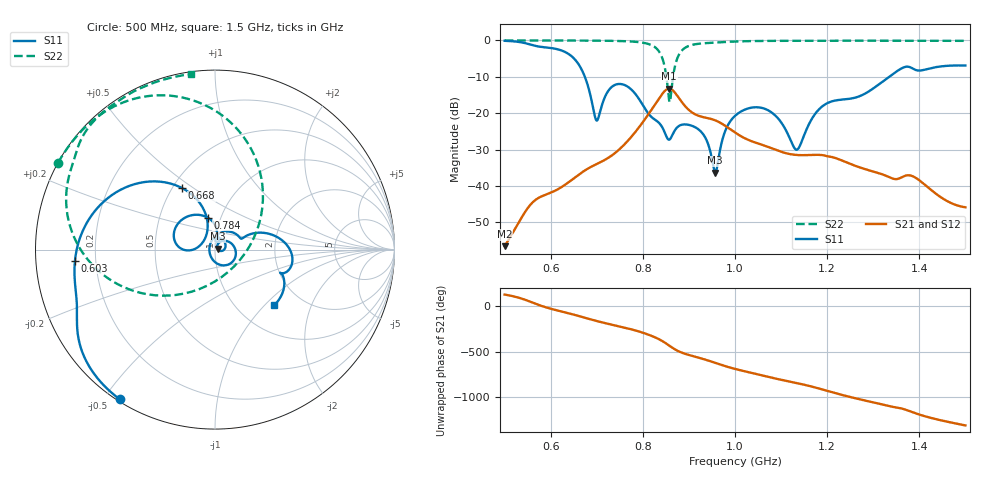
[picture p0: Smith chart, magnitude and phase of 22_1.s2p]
! TOUCHSTONE file generated by CST MICROWAVE STUDIO
! Date and time: Mon Oct 26 12:07:46 2020
! Project name: Scenario_1_Circular_Tissue_out_of_Line_v2.cst
! Parameters = {dy1=17.3; L_HA=400; MT=2.54; Rad_Dielectric=30; Rad_Lower=7.3; Rad_Upper=30; a_HA=580; a_WG=246; b_HA=500; b_WG=121; c_HA=0; c_WG=187; d_feed=85; dx1=173; h_feed=15; h_lower=18; h_upper=40}
! Header version: 2018
! Port assignment regex: !\s*Touchstone port\s*([0-9]+)\s*=\s*(CST MWS port|CST DS port)\s*([0-9]+|Zmin|Zmax)\s*\(\"(.*)\"\)(\s*mode\s*([0-9]+))?.*
! Touchstone port assignment:
! Touchstone port 1 = CST MWS port 1 ("")
! Touchstone port 2 = CST MWS port 2 ("")
# GHz S DB R 50
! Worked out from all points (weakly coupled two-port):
!   1003 points, 500 MHz to 1.5 GHz, reference 50 ohm
!   highest |S21| = -13.26 dB at 857 MHz (marker M1); lowest = -56.6 dB at 500 MHz (marker M2)
!   lowest |S11| = -36.4 dB at 957 MHz (marker M3), VSWR 1.03, Z = 51.4 + j0.529 ohm
!   |S11| at or under -10 dB: 674.2 MHz to 1.334 GHz (660.1 MHz wide, 65.7 % of centre)
!   |S22| runs from -17.0 to 0.0 dB; largest |S21 - S12| = 6.2e-05
!   S11 on the Smith chart (normalised r, x): 500 MHz: 0.01, -0.55; 603 MHz: 0.12, -0.04; 668 MHz: 0.56, +0.45; 784 MHz: 0.87, +0.32; 1.5 GHz: 1.46, -1.14
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0.5  -0.10 -122.5  -56.58 130.2  -56.58 130.2  -0.01 151.1
0.557  -1.17 -151.6  -45.04 48.8  -45.04 48.8  -0.01 147.3
0.603  -2.13 -175.5  -41.72 -30.5  -41.72 -30.5  -0.02 143.9
0.667  -7.96 119.3  -36.36 -115.5  -36.36 -115.5  -0.04 138.4
0.668  -8.21 118.1  -36.27 -116.9  -36.27 -116.9  -0.04 138.3
0.7  -22.04 146.0  -33.98 -162.5  -33.98 -162.5  -0.07 134.9
0.736  -12.47 164.0  -31.32 153.8  -31.32 153.8  -0.12 130.0
0.784  -14.75 103.0  -25.13 93.3  -25.13 93.3  -0.38 119.3
0.834  -22.54 75.8  -16.16 -0.7  -16.16 -0.7  -2.84 83.8
0.847  -25.17 67.1  -13.98 -38.3  -13.98 -38.3  -7.02 53.7
0.857  -27.31 79.3  -13.26 -73.1  -13.26 -73.1  -16.44 -22.4
0.868  -25.05 86.6  -14.12 -110.4  -14.12 -110.4  -8.11 -139.3
0.888  -23.11 59.8  -17.51 -158.1  -17.51 -158.1  -2.37 178.5
0.931  -25.81 0.3  -21.09 138.2  -21.09 138.2  -0.80 152.8
0.957  -36.36 19.8  -21.97 95.6  -21.97 95.6  -0.59 147.0
0.978  -25.15 54.5  -23.41 60.4  -23.41 60.4  -0.44 143.7
1  -20.75 26.3  -25.33 28.5  -25.33 28.5  -0.30 140.5
1.072  -19.22 -50.9  -29.29 -59.0  -29.29 -59.0  -0.13 132.3
1.133  -30.05 -176.6  -31.49 -126.9  -31.49 -126.9  -0.10 126.8
1.167  -21.52 81.8  -31.48 -167.2  -31.47 -167.2  -0.11 124.1
1.334  -10.03 16.1  -37.57 -22.6  -37.57 -22.6  -0.09 111.5
1.5  -6.89 -43.3  -45.88 123.7  -45.86 124.4  -0.12 97.8
